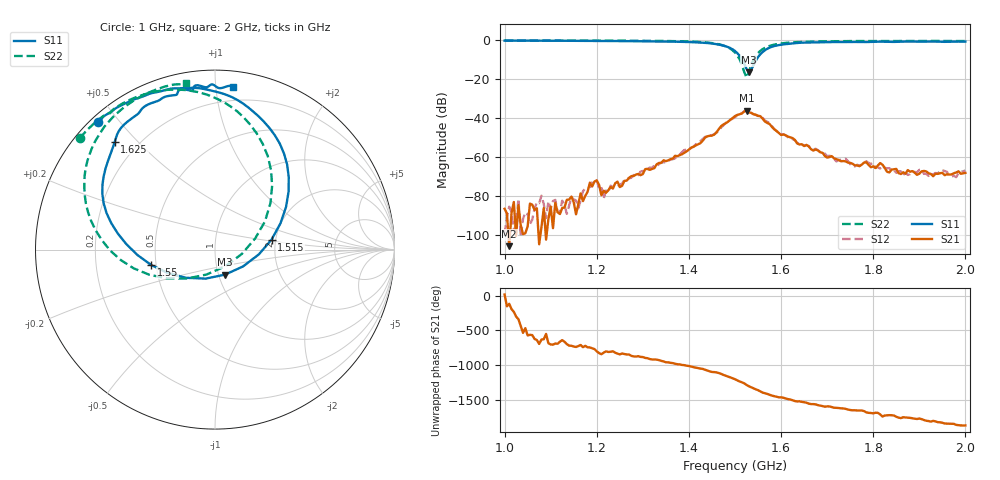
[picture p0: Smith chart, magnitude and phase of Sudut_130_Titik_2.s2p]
# Hz S RI R 50
! CMT, C1220, 16058040, 17.2.0/1
! Date: 14/08/2018 12:46:48
! Data: Format (Calibration Info)
! Freq  S11: Re/Im (F2)  S21: Re/Im (F2)  S12: Re/Im (F2)  S22: Re/Im (F2)
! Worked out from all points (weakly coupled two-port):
!   201 points, 1 GHz to 2 GHz, reference 50 ohm
!   highest |S21| = -36.18 dB at 1.525 GHz (marker M1); lowest = -105.8 dB at 1.01 GHz (marker M2)
!   lowest |S11| = -16.5 dB at 1.53 GHz (marker M3), VSWR 1.35, Z = 53.7 - j15.3 ohm
!   |S11| at or under -10 dB: 1.515 GHz to 1.547 GHz (31.45 MHz wide, 2.05 % of centre)
!   |S22| runs from -19.2 to -0.2 dB; largest |S21 - S12| = 0.00074
!   S11 on the Smith chart (normalised r, x): 1 GHz: 0.02, +0.44; 1.515 GHz: 1.90, +0.24; 1.55 GHz: 0.47, -0.09; 1.625 GHz: 0.12, +0.43; 2 GHz: 0.10, +1.11
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1e9  -0.6512 0.7133  4.49e-05 1.31e-05  1.05e-05 -1.95e-06  -0.7537 0.6214
1.01e9  -0.638 0.7229  -2.37e-06 -4.56e-06  -4.96e-05 -1.95e-05  -0.7469 0.6291
1.17e9  -0.4808 0.8238  6.79e-05 -2.86e-05  0.000129 -2.14e-05  -0.6184 0.7467
1.2e9  -0.4387 0.8403  3.12e-05 -0.000247  -1.26e-05 -0.000254  -0.5852 0.76
1.21e9  -0.4291 0.8432  -5.84e-05 -8.6e-05  -4.47e-05 -0.000165  -0.5807 0.764
1.215e9  -0.4234 0.8453  -2.77e-05 -0.000133  -9.5e-06 -8.43e-05  -0.578 0.7686
1.23e9  -0.3989 0.8541  4.61e-06 -0.000169  -3.34e-05 -0.000181  -0.5633 0.7838
1.335e9  -0.2185 0.8981  -0.000614 0.00034  -0.000547 0.000361  -0.404 0.8616
1.45e9  0.1841 0.793  0.00331 -0.00121  0.00337 -0.00139  0.0183 0.837
1.5e9  0.4103 0.3256  -0.00635 -0.0092  -0.00594 -0.00858  0.3183 0.3554
1.515e9  0.3152 0.0557  -0.0128 -0.00251  -0.0129 -0.00286  0.2239 0.0621
1.525e9  0.1565 -0.0936  -0.0139 0.00698  -0.014 0.00691  0.0577 -0.0932
1.53e9  0.0562 -0.1393  -0.00966 0.00998  -0.00975 0.01  -0.0482 -0.1392
1.55e9  -0.3553 -0.0861  0.00246 0.011  0.00202 0.0111  -0.4534 -0.1042
1.58e9  -0.6207 0.2595  0.00594 -9.7e-05  0.00617 -0.00035  -0.7075 0.2091
1.625e9  -0.5581 0.6021  0.00116 -0.00282  0.00116 -0.00263  -0.7034 0.5175
1.67e9  -0.4442 0.7446  -0.000803 -0.00122  -0.000833 -0.00131  -0.6277 0.6682
1.755e9  -0.2783 0.8514  -0.000568 0.00036  -0.000481 0.000312  -0.4929 0.8028
1.815e9  -0.1831 0.8925  2.03e-05 0.000697  -5.24e-05 0.0005  -0.4087 0.8557
1.835e9  -0.1357 0.8858  8.77e-05 0.000392  0.000156 0.000493  -0.3816 0.8691
1.98e9  0.0744 0.9117  0.000181 -0.000356  0.000175 -0.000247  -0.1837 0.9212
2e9  0.102 0.9056  0.000126 -0.00037  0.000117 -0.000437  -0.1597 0.93
